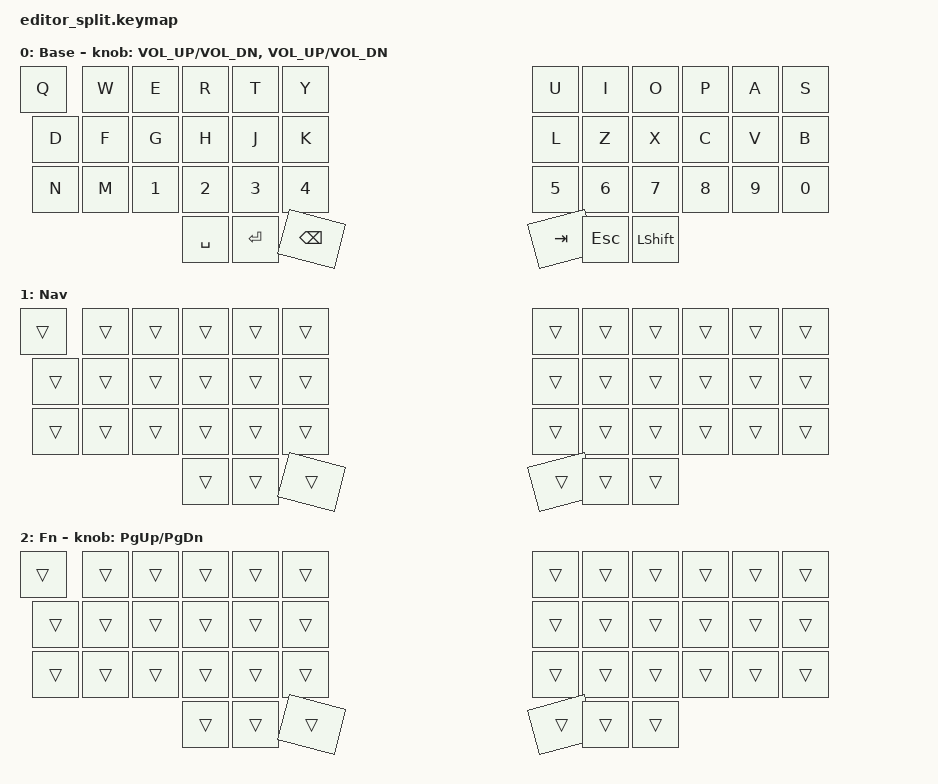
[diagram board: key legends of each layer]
#include <behaviors.dtsi>
#include <dt-bindings/zmk/keys.h>

/ {
    keymap {
        compatible = "zmk,keymap";

        default_layer {
            display-name = "Base";
            // | Q | W | E | R   | T     | Y    | U   | I   | O     | P | A | S |
            // | D | F | G | H   | J     | K    | L   | Z   | X     | C | V | B |
            // | N | M | 1 | 2   | 3     | 4    | 5   | 6   | 7     | 8 | 9 | 0 |
            //             | SPC | ENTER | BSPC | TAB | ESC | SHIFT |
            bindings = <
                &kp Q  &kp W  &kp E   &kp R      &kp T    &kp Y     &kp U    &kp I    &kp O      &kp P   &kp A   &kp S
                &kp D  &kp F  &kp G   &kp H      &kp J    &kp K     &kp L    &kp Z    &kp X      &kp C   &kp V   &kp B
                &kp N  &kp M  &kp N1  &kp N2     &kp N3   &kp N4    &kp N5   &kp N6   &kp N7     &kp N8  &kp N9  &kp N0
                                      &kp SPACE  &kp RET  &kp BSPC  &kp TAB  &kp ESC  &kp LSHFT
            >;

            sensor-bindings = <&inc_dec_kp C_VOL_UP C_VOL_DN &inc_dec_kp C_VOL_UP C_VOL_DN>;
        };

        nav {
            display-name = "Nav";
            // |   |   |   |   |   |   |   |   |   |   |   |   |
            // |   |   |   |   |   |   |   |   |   |   |   |   |
            // |   |   |   |   |   |   |   |   |   |   |   |   |
            //             |   |   |   |   |   |   |
            bindings = <
                &trans  &trans  &trans  &trans  &trans  &trans  &trans  &trans  &trans  &trans  &trans  &trans
                &trans  &trans  &trans  &trans  &trans  &trans  &trans  &trans  &trans  &trans  &trans  &trans
                &trans  &trans  &trans  &trans  &trans  &trans  &trans  &trans  &trans  &trans  &trans  &trans
                                        &trans  &trans  &trans  &trans  &trans  &trans
            >;
        };

        fn {
            display-name = "Fn";
            // |   |   |   |   |   |   |   |   |   |   |   |   |
            // |   |   |   |   |   |   |   |   |   |   |   |   |
            // |   |   |   |   |   |   |   |   |   |   |   |   |
            //             |   |   |   |   |   |   |
            bindings = <
                &trans  &trans  &trans  &trans  &trans  &trans  &trans  &trans  &trans  &trans  &trans  &trans
                &trans  &trans  &trans  &trans  &trans  &trans  &trans  &trans  &trans  &trans  &trans  &trans
                &trans  &trans  &trans  &trans  &trans  &trans  &trans  &trans  &trans  &trans  &trans  &trans
                                        &trans  &trans  &trans  &trans  &trans  &trans
            >;

            sensor-bindings = <&inc_dec_kp PG_UP PG_DN>;
        };
    };
};
